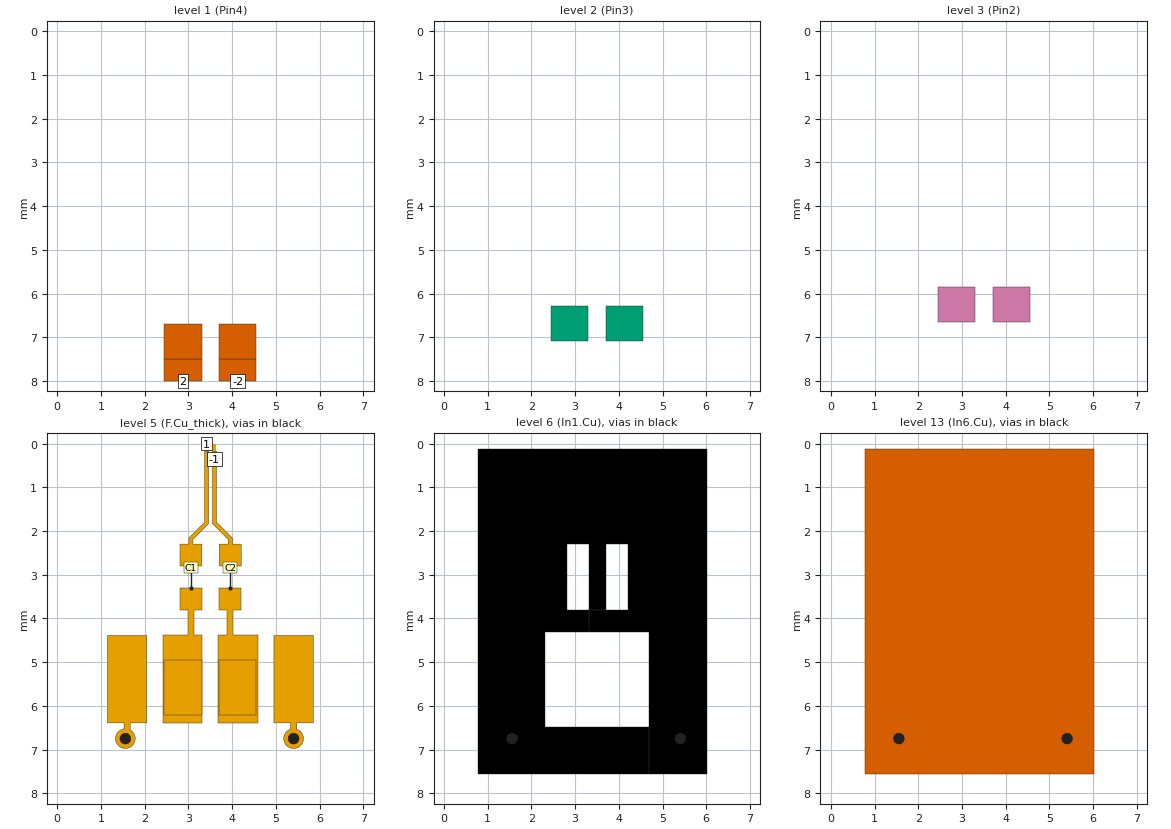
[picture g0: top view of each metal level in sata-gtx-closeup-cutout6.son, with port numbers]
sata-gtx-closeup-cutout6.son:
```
FTYP SONPROJ 19 ! Sonnet Project File
VER 18.52
HEADER
LIC antikernel2.1.51176
DAT 01/05/2022 17:11:27
BUILT_BY_CREATED dxf 18.52 12/15/2021 18:24:32
BUILT_BY_SAVED sonnet 18.52
MDATE 01/05/2022 17:11:27
HDATE 01/05/2022 17:11:27
ANN Created by dxfgeo, Sonnet Software Inc.
END HEADER
DIM
ANG DEG
CAP PF
CON /OH
FREQ GHZ
IND NH
LNG MM
RES OH
END DIM
CONTROL
VARSWP
OPTIONS  -dj
SPEED 1
CACHE_ABS 2
Q_ACC N
END CONTROL
GEO
DRP1 TOP LINK
POLY 6175 1
11
TMET "Free Space" 0 FREESPACE 376.7303136 0 0 0
BMET "Free Space" 0 FREESPACE 376.7303136 0 0 0
MET "Copper_1oz_thin" 1 NOR 58000000 0.5 0.035 
MET "Copper_1oz_thick" 2 TMM 58000000 0.5 0.035 2
MET "Copper_0.5oz_thin" 4 NOR 58000000 0.5 0.017 
MET "Copper_0.5oz_thick" 12 TMM 58000000 0.5 0.017 2
MET "Copper_0.5oz_thick_down" 5 TMM 58000000 0.5 0.017 2 CDVY TDWN
MET "Copper_1oz_thick_down" 3 TMM 58000000 0.5 0.035 2 CDVY TDWN
MET "ConnectorPin" 9 TMM 58000000 0.5 0.3 3
BOX 16 7 8 560 640 20 0
      5 1 1 0 0 0 0 "Air"
      0.3 1 1 0 0 0 0 "Air"
      0.3 1 1 0 0 0 0 "Air"
      0.3 1 1 0 0 0 0 "Air"
      0.26 1 1 0 0 0 0 "Air"
      0.04 3.5 1 0.025 0 0 0 "Soldermask"
      0.075 3.39 1 0.004 0 0 0 "Panasonic_R-5775(G)"
      0.068 3.56 1 0.004 0 0 0 "Panasonic_R-5670(G)"
      0.13 3.39 1 0.004 0 0 0 "Panasonic_R-5775(G)"
      0.092 3.56 1 0.004 0 0 0 "Panasonic_R-5670(G)"
      0.609 3.39 1 0.004 0 0 0 "Panasonic_R-5775(G)"
      0.092 3.56 1 0.004 0 0 0 "Panasonic_R-5670(G)"
      0.13 3.39 1 0.004 0 0 0 "Panasonic_R-5775(G)"
      0.068 3.56 1 0.004 0 0 0 "Panasonic_R-5670(G)"
      0.075 3.39 1 0.004 0 0 0 "Panasonic_R-5775(G)"
      0.04 3.5 1 0.025 0 0 0 "Soldermask"
      5 1 1 0 0 0 0 "Air"
TECHLAY METAL Pin4 <UNSPECIFIED> -1 0 CAD Pin4 drawing 
1 0 6 N 6543 1 1 100 100 0 0 0 Y
END
END
TECHLAY METAL Pin3 <UNSPECIFIED> -2 0 CAD Pin3 drawing 
2 0 6 N 6545 1 1 100 100 0 0 0 Y
END
END
TECHLAY METAL Pin2 <UNSPECIFIED> -3 0 CAD Pin2 drawing 
3 0 6 N 6547 1 1 100 100 0 0 0 Y
END
END
TECHLAY METAL F.Cu_thick L1D0 -4 0 CAD F.Cu_thick drawing 
5 0 1 N 6449 1 1 100 100 0 0 0 Y
END
END
TECHLAY METAL F.Cu_thin <UNSPECIFIED> -5 0 CAD F.Cu_thin drawing 
5 0 0 N 6457 1 1 100 100 0 0 0 Y
END
END
TECHLAY METAL ConnectorPin1 <UNSPECIFIED> -6 0 CAD ConnectorPin drawing 
5 0 6 N 6549 1 1 100 100 0 0 0 Y
END
END
TECHLAY VIA Via1 L9D0 -17 0 CAD Via1 drawing 
VIA POLYGON
5 0 -1 N 6593 1 1 100 100 0 0 0 Y
TOLEVEL 14 RING NOCOVERS
END
END
TECHLAY METAL In1.Cu L2D0 -7 0 CAD In1.Cu drawing 
6 0 0 N 6474 1 1 100 100 0 0 0 Y
END
END
TECHLAY METAL In2.Cu_thick L3D0 -8 0 CAD In2.Cu_thick drawing 
7 0 3 N 6477 1 1 100 100 0 0 0 Y
END
END
TECHLAY METAL In2.Cu_thin <UNSPECIFIED> -9 0 CAD In2.Cu drawing 
7 0 2 N 6479 1 1 100 100 0 0 0 Y
END
END
TECHLAY METAL In3.Cu L4D0 -10 0 CAD In3.Cu drawing 
8 0 0 N 6482 1 1 100 100 0 0 0 Y
END
END
TECHLAY METAL In4.Cu L5D0 -11 0 CAD In4.Cu drawing 
11 0 0 N 6487 1 1 100 100 0 0 0 Y
END
END
TECHLAY METAL In5.Cu_thick L6D0 -12 0 CAD In5.Cu_thick drawing 
12 0 4 N 6490 1 1 100 100 0 0 0 Y
END
END
TECHLAY METAL In5.Cu_thin <UNSPECIFIED> -13 0 CAD In5.Cu drawing 
12 0 2 N 6492 1 1 100 100 0 0 0 Y
END
END
TECHLAY METAL In6.Cu L7D0 -14 0 CAD In6.Cu drawing 
13 0 0 N 6495 1 1 100 100 0 0 0 Y
END
END
TECHLAY METAL B.Cu_thick L8D0 -15 0 CAD B.Cu_thick drawing 
14 0 5 N 6498 1 1 100 100 0 0 0 Y
END
END
TECHLAY METAL B.Cu_thin <UNSPECIFIED> -16 0 CAD B.Cu_thin drawing 
14 0 0 N 6500 1 1 100 100 0 0 0 Y
END
END
VALVAR CORE_ER NONE "table1(\"core_er.csv\",FREQ)" "Variable set in material file"
VALVAR CORE_DF NONE "table1(\"core_df.csv\",FREQ)" "Variable set in material file"
VALVAR PREPREG_DF NONE "table1(\"prepreg_df.csv\",FREQ)" "Variable set in material file"
VALVAR PREPREG_ER NONE "table1(\"prepreg_er.csv\",FREQ)" "Variable set in material file"
DIM STD YDIR -1
POS -0.1313118977 -1.176126135
NOM 1.25
REF1 POLY 6571 1
3
REF2 POLY 6571 1
0
END
DIM STD XDIR -1
POS -0.6199376824 -0.05596443287
NOM 0.85
REF1 POLY 6571 1
1
REF2 POLY 6571 1
0
END
DIM STD YDIR -1
POS -0.1206188682 -0.8768719987
NOM 0.8
REF1 POLY 6564 1
3
REF2 POLY 6564 1
0
END
LORGN 0 8 U 
POR1 BOX
POLY 6562 1
2
-2 100 0 0 0 4.125 8 
POR1 BOX
POLY 6566 1
2
2 100 0 0 0 2.875 8 
POR1 BOX
POLY 6330 1
2
1 100 0 0 0 3.417 0 
POR1 BOX
POLY 6334 1
2
-1 100 0 0 0 3.597 0 
SMD 1 "C1"
ID 6037
GNDREF AUTO
DRP1 TOP NONE 1
DRP1 BOTTOM NONE 1
SBOX 2.932 3.182 2.925 3.175
PBSHW N
LPOS 3.057 2.925
TYPE IDEAL CAP 100000
SMDP 5 3.057 2.8 T 3 1 
EXSMDP
GNDREF AUTO
TERMW FEED
END EXSMDP
SMDP 5 3.057 3.3 B 4 2 
EXSMDP
GNDREF AUTO
TERMW FEED
END EXSMDP
END
SMD 1 "C2"
ID 6042
GNDREF AUTO
DRP1 TOP NONE 1
DRP1 BOTTOM NONE 1
SBOX 3.832 4.082 2.925 3.175
PBSHW N
LPOS 3.957 2.925
TYPE IDEAL CAP 100000
SMDP 5 3.957 2.8 T 5 1 
EXSMDP
GNDREF AUTO
TERMW FEED
END EXSMDP
SMDP 5 3.957 3.3 B 6 2 
EXSMDP
GNDREF AUTO
TERMW FEED
END EXSMDP
END
NUM 22
1 5 6 N 6562 1 1 100 100 0 0 0 Y
TLAYNAM Pin4 INH
4.55 7.5
3.7 7.5
3.7 8
4.55 8
4.55 7.5
END
1 5 6 N 6566 1 1 100 100 0 0 0 Y
TLAYNAM Pin4 INH
3.3 7.5
2.45 7.5
2.45 8
3.3 8
3.3 7.5
END
1 5 6 N 6568 1 1 100 100 0 0 0 Y
TLAYNAM Pin4 INH
2.45 6.7
3.3 6.7
3.3 7.5
2.45 7.5
2.45 6.7
END
1 5 6 N 6572 1 1 100 100 0 0 0 Y
TLAYNAM Pin4 INH
3.7 6.7
4.55 6.7
4.55 7.5
3.7 7.5
3.7 6.7
END
2 5 6 N 6569 1 1 100 100 0 0 0 Y
TLAYNAM Pin3 INH
2.45 6.275
3.3 6.275
3.3 7.075
2.45 7.075
2.45 6.275
END
2 5 6 N 6570 1 1 100 100 0 0 0 Y
TLAYNAM Pin3 INH
3.7 6.275
4.55 6.275
4.55 7.075
3.7 7.075
3.7 6.275
END
3 5 6 N 6564 1 1 100 100 0 0 0 Y
TLAYNAM Pin2 INH
2.45 5.85
3.3 5.85
3.3 6.65
2.45 6.65
2.45 5.85
END
3 5 6 N 6573 1 1 100 100 0 0 0 Y
TLAYNAM Pin2 INH
3.7 5.85
4.55 5.85
4.55 6.65
3.7 6.65
3.7 5.85
END
5 13 1 N 36 1 1 100 100 0 0 0 Y
TLAYNAM F.Cu_thick INH
3.687 6.39
3.687 4.39
3.887 4.39
3.887 3.8
3.707 3.8
3.707 3.3
4.207 3.3
4.207 3.8
4.027 3.8
4.027 4.39
4.587 4.39
4.587 6.39
3.687 6.39
END
5 67 1 N 243 1 1 100 100 0 0 0 Y
TLAYNAM F.Cu_thick INH
1.546 6.975
1.524 6.973
1.502 6.968
1.481 6.962
1.461 6.953
1.441 6.943
1.423 6.931
1.406 6.917
1.39 6.901
1.376 6.884
1.364 6.866
1.354 6.846
1.345 6.826
1.339 6.805
1.334 6.783
1.332 6.761
1.332 6.739
1.334 6.717
1.339 6.695
1.345 6.674
1.354 6.654
1.364 6.634
1.376 6.616
1.39 6.599
1.406 6.583
1.423 6.569
1.441 6.557
1.461 6.547
1.481 6.538
1.502 6.532
1.524 6.527
1.527 6.527
1.527 6.39
1.147 6.39
1.147 4.39
2.047 4.39
2.047 6.39
1.667 6.39
1.667 6.554
1.673 6.557
1.691 6.569
1.708 6.583
1.724 6.599
1.738 6.616
1.75 6.634
1.76 6.654
1.769 6.674
1.775 6.695
1.78 6.717
1.782 6.739
1.782 6.761
1.78 6.783
1.775 6.805
1.769 6.826
1.76 6.846
1.75 6.866
1.738 6.884
1.724 6.901
1.708 6.917
1.691 6.931
1.673 6.943
1.653 6.953
1.633 6.962
1.612 6.968
1.59 6.973
1.568 6.975
1.546 6.975
END
5 13 1 N 245 1 1 100 100 0 0 0 Y
TLAYNAM F.Cu_thick INH
2.417 6.39
2.417 4.39
2.987 4.39
2.987 3.8
2.807 3.8
2.807 3.3
3.307 3.3
3.307 3.8
3.127 3.8
3.127 4.39
3.317 4.39
3.317 6.39
2.417 6.39
END
5 67 1 N 512 1 1 100 100 0 0 0 Y
TLAYNAM F.Cu_thick INH
5.396 6.975
5.374 6.973
5.352 6.968
5.331 6.962
5.311 6.953
5.291 6.943
5.273 6.931
5.256 6.917
5.24 6.901
5.226 6.884
5.214 6.866
5.204 6.846
5.195 6.826
5.189 6.805
5.184 6.783
5.182 6.761
5.182 6.739
5.184 6.717
5.189 6.695
5.195 6.674
5.204 6.654
5.214 6.634
5.226 6.616
5.24 6.599
5.256 6.583
5.273 6.569
5.291 6.557
5.311 6.547
5.331 6.538
5.337 6.536
5.337 6.39
4.957 6.39
4.957 4.39
5.857 4.39
5.857 6.39
5.477 6.39
5.477 6.536
5.483 6.538
5.503 6.547
5.523 6.557
5.541 6.569
5.558 6.583
5.574 6.599
5.588 6.616
5.6 6.634
5.61 6.654
5.619 6.674
5.625 6.695
5.63 6.717
5.632 6.739
5.632 6.761
5.63 6.783
5.625 6.805
5.619 6.826
5.61 6.846
5.6 6.866
5.588 6.884
5.574 6.901
5.558 6.917
5.541 6.931
5.523 6.943
5.503 6.953
5.483 6.962
5.462 6.968
5.44 6.973
5.418 6.975
5.396 6.975
END
5 23 1 N 6174 1 1 100 100 0 0 0 Y
TLAYNAM F.Cu_thick INH
4.207 2.3
4.002 2.3
4.002 2.168
4.001 2.164
3.999 2.16
3.998 2.156
3.996 2.152
3.993 2.148
3.642 1.797
3.642 0.175
3.552 0.175
3.552 1.822
3.553 1.826
3.555 1.83
3.556 1.834
3.558 1.838
3.561 1.842
3.912 2.193
3.912 2.3
3.707 2.3
3.707 2.8
4.207 2.8
4.207 2.3
END
5 25 1 N 6175 1 1 100 100 0 0 0 Y
TLAYNAM F.Cu_thick INH
3.307 2.3
3.102 2.3
3.102 2.193
3.444 1.851
3.447 1.849
3.45 1.846
3.456 1.838
3.458 1.835
3.459 1.83
3.461 1.826
3.462 1.822
3.462 0.175
3.372 0.175
3.372 1.797
3.021 2.148
3.018 2.152
3.016 2.156
3.015 2.16
3.013 2.164
3.012 2.168
3.012 2.3
2.807 2.3
2.807 2.8
3.307 2.8
3.307 2.3
END
5 5 1 N 6330 1 1 100 100 0 0 0 Y
TLAYNAM F.Cu_thick INH
3.462 0.175
3.372 0.175
3.372 0
3.462 0
3.462 0.175
END
5 5 1 N 6334 1 1 100 100 0 0 0 Y
TLAYNAM F.Cu_thick INH
3.642 0.175
3.552 0.175
3.552 0
3.642 0
3.642 0.175
END
5 5 6 N 6565 1 1 100 100 0 0 0 Y
TLAYNAM ConnectorPin1 INH
3.7 4.95
4.55 4.95
4.55 6.2
3.7 6.2
3.7 4.95
END
5 5 6 N 6571 1 1 100 100 0 0 0 Y
TLAYNAM ConnectorPin1 INH
2.45 4.95
3.3 4.95
3.3 6.2
2.45 6.2
2.45 4.95
END
VIA POLYGON
5 53 -1 N 5255 1 1 100 100 0 0 0 Y
TOLEVEL 14 RING NOCOVERS
TLAYNAM Via1 INH
1.557 6.875
1.533 6.873
1.521 6.87
1.509 6.865
1.498 6.86
1.488 6.854
1.478 6.847
1.46 6.829
1.453 6.819
1.447 6.809
1.442 6.798
1.437 6.786
1.434 6.774
1.432 6.75
1.434 6.726
1.437 6.714
1.442 6.702
1.447 6.691
1.453 6.681
1.46 6.671
1.478 6.653
1.488 6.646
1.498 6.64
1.509 6.635
1.521 6.63
1.533 6.627
1.557 6.625
1.581 6.627
1.593 6.63
1.605 6.635
1.616 6.64
1.626 6.646
1.636 6.653
1.654 6.671
1.661 6.681
1.667 6.691
1.672 6.702
1.677 6.714
1.68 6.726
1.682 6.75
1.68 6.774
1.677 6.786
1.672 6.798
1.667 6.809
1.661 6.819
1.654 6.829
1.636 6.847
1.626 6.854
1.616 6.86
1.605 6.865
1.593 6.87
1.581 6.873
1.557 6.875
END
VIA POLYGON
5 53 -1 N 5321 1 1 100 100 0 0 0 Y
TOLEVEL 14 RING NOCOVERS
TLAYNAM Via1 INH
5.407 6.875
5.383 6.873
5.371 6.87
5.359 6.865
5.348 6.86
5.338 6.854
5.328 6.847
5.31 6.829
5.303 6.819
5.297 6.809
5.292 6.798
5.287 6.786
5.284 6.774
5.282 6.75
5.284 6.726
5.287 6.714
5.292 6.702
5.297 6.691
5.303 6.681
5.31 6.671
5.328 6.653
5.338 6.646
5.348 6.64
5.359 6.635
5.371 6.63
5.383 6.627
5.407 6.625
5.431 6.627
5.443 6.63
5.455 6.635
5.466 6.64
5.476 6.646
5.486 6.653
5.504 6.671
5.511 6.681
5.517 6.691
5.522 6.702
5.527 6.714
5.53 6.726
5.532 6.75
5.53 6.774
5.527 6.786
5.522 6.798
5.517 6.809
5.511 6.819
5.504 6.829
5.486 6.847
5.476 6.854
5.466 6.86
5.455 6.865
5.443 6.87
5.431 6.873
5.407 6.875
END
6 27 0 N 6516 1 1 100 100 0 0 0 Y
TLAYNAM In1.Cu INH
6.025 0.125
0.775 0.125
0.775 3.8
0.775 7.55
4.7 7.55
4.7 6.475
2.3 6.475
2.3 4.3
3.307 4.3
3.307 3.8
2.807 3.8
2.807 2.3
3.307 2.3
3.307 3.8
3.707 3.8
3.707 2.3
4.207 2.3
4.207 3.8
3.707 3.8
3.307 3.8
3.307 3.8
3.307 4.3
4.7 4.3
4.7 6.475
4.7 7.55
6.025 7.55
6.025 0.125
END
13 5 0 N 6600 1 1 100 100 0 0 0 Y
TLAYNAM In6.Cu INH
6.025 0.125
0.775 0.125
0.775 7.55
6.025 7.55
6.025 0.125
END
END GEO
OPT
MAX 100
END OPT
VARSWP
ENABLED Y
FREQ Y AY ABS_ENTRY 0.001 12.0 -1 300 
END
END VARSWP
3DOPTIONS
GLOBAL 2
ALL 13 1
END 3DOPTIONS
```
